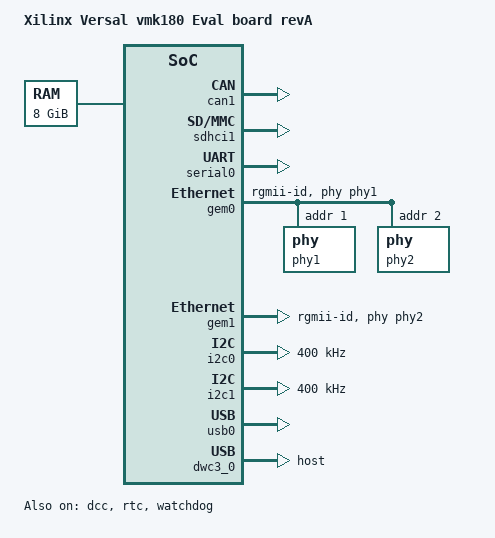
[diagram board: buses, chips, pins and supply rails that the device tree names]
// SPDX-License-Identifier: GPL-2.0
/*
 * dts file for Xilinx Versal vmk180 revA
 *
 * (C) Copyright 2019, Xilinx, Inc.
 *
 * Michal Simek <michal.simek@xilinx.com>
 */

#include "versal.dtsi"
#include "versal-clk.dtsi"

/ {
	compatible = "xlnx,versal-vmk180-revA", "xlnx,versal";
	model = "Xilinx Versal vmk180 Eval board revA";

	memory: memory@0 {
		device_type = "memory";
		reg = <0 0 0 0x80000000>, <0x8 0x0 0x1 0x80000000>;
	};

	chosen {
		bootargs = "console=ttyAMA0 earlycon=pl011,mmio32,0xFF000000,115200n8 clk_ignore_unused";
		stdout-path = "serial0:115200";
	};

	aliases {
		serial0 = &serial0;
		ethernet0 = &gem0;
		ethernet1 = &gem1;
		i2c0 = &i2c0;
		i2c1 = &i2c1;
		mmc0 = &sdhci1;
		spi0 = &qspi;
		usb0 = &usb0;
		rtc0 = &rtc;
	};
};

/* PMC_MIO 0 -12 - configuration header QSPI/OSPI/EMMC */
/* FIXME PMC_MIO37 ZU4_TRIGGER/PMC_MIO37/38 PCIE */

&can1 { /* MIO40-41 */
	status = "okay";
};

&dcc {
	status = "okay";
};

&rtc {
	status = "okay";
};

&gpio0 {
	status = "okay";
};

&gpio1 {
	status = "okay";
};

&watchdog {
	status = "okay";
};

&sdhci1 { /* PMC_MIO26-36/51 */
	status = "okay";
	xlnx,mio-bank = <1>;
	no-1-8-v;
};

&serial0 { /* PMC_MIO42/43 */
	status = "okay";
};

&gem0 { /* PMC_MIO_48, LPD_MIO0-11/24/25 */
	status = "okay";
	phy-handle = <&phy1>; /* u128 */
	phy-mode = "rgmii-id";
	phy1: phy@1 {
		reg = <1>;
		ti,rx-internal-delay = <0xb>;
		ti,tx-internal-delay = <0xa>;
		ti,fifo-depth = <1>;
		ti,dp83867-rxctrl-strap-quirk;
	};
	phy2: phy@2 {
		reg = <2>;
		ti,rx-internal-delay = <0xb>;
		ti,tx-internal-delay = <0xa>;
		ti,fifo-depth = <1>;
		ti,dp83867-rxctrl-strap-quirk;
	};
};

&gem1 { /* PMC_MIO_49, LPD_MIO12-23 */
	status = "okay";
	phy-handle = <&phy2>; /* u134 */
	phy-mode = "rgmii-id";
};

&i2c0 { /* PMC_MIO46/47 */
	status = "okay";
	clock-frequency = <400000>;
};

&i2c1 { /* PMC_MIO44/45 */
	status = "okay";
	clock-frequency = <400000>;
};

&usb0 { /* PMC_MIO13_500 - PMC_MIO25 USB 2.0 */
	status = "okay";
	xlnx,usb-polarity = <0x0>;
	xlnx,usb-reset-mode = <0x0>;
};

&dwc3_0 { /* USB 2.0 host */
	status = "okay";
	dr_mode = "host";
	maximum-speed = "high-speed";
	snps,dis_u2_susphy_quirk;
	snps,dis_u3_susphy_quirk;
	snps,usb3_lpm_capable;
};
